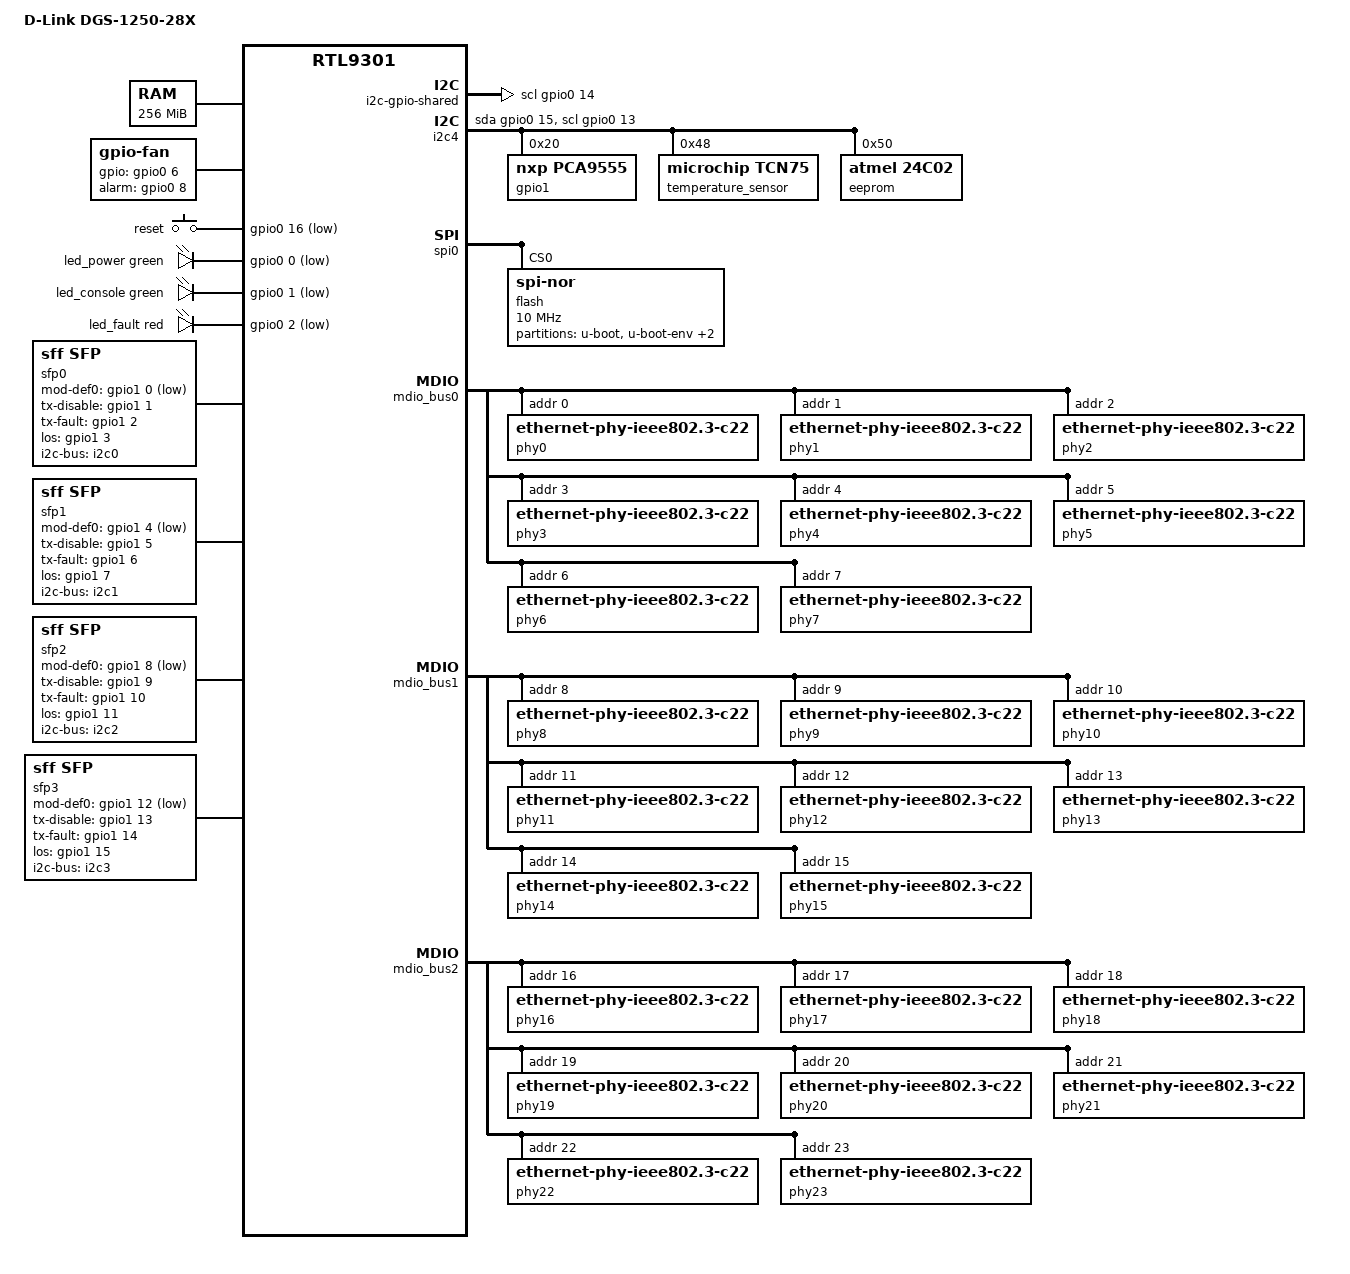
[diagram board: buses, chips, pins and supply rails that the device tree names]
// SPDX-License-Identifier: (GPL-2.0-or-later or MIT)
/dts-v1/;

#include <dt-bindings/gpio/gpio.h>
#include <dt-bindings/input/input.h>
#include <dt-bindings/leds/common.h>

#include "rtl930x.dtsi"

/ {
	compatible = "d-link,dgs-1250-28x", "realtek,rtl9301-soc";
	model = "D-Link DGS-1250-28X";

	aliases {
		label-mac-device = &ethernet0;
		led-boot = &led_power;
		led-failsafe = &led_console;
		led-running = &led_power;
		led-upgrade = &led_console;
	};

	memory@0 {
		device_type = "memory";
		reg = <0x00000000 0x10000000>;
	};

	fan: gpio-fan {
		compatible = "gpio-fan";
		gpios = <&gpio0 6 GPIO_ACTIVE_HIGH>;
		alarm-gpios = <&gpio0 8 GPIO_ACTIVE_HIGH>;
		/* simple on/off values as LM75 alert pin steers fan high/low speed */
		gpio-fan,speed-map = <0 0>, <1 1>;
		#cooling-cells = <2>;
	};

	i2c-gpio-shared {
		compatible = "i2c-gpio-shared";
		scl-gpios = <&gpio0 14 (GPIO_ACTIVE_HIGH | GPIO_OPEN_DRAIN)>;
		#address-cells = <1>;
		#size-cells = <0>;

		i2c0: i2c@0 {
			sda-gpios = <&gpio0 17 (GPIO_ACTIVE_HIGH | GPIO_OPEN_DRAIN)>;
			i2c-gpio,delay-us = <5>;
		};

		i2c1: i2c@1 {
			sda-gpios = <&gpio0 18 (GPIO_ACTIVE_HIGH | GPIO_OPEN_DRAIN)>;
			i2c-gpio,delay-us = <5>;
		};

		i2c2: i2c@2 {
			sda-gpios = <&gpio0 19 (GPIO_ACTIVE_HIGH | GPIO_OPEN_DRAIN)>;
			i2c-gpio,delay-us = <5>;
		};

		i2c3: i2c@3 {
			sda-gpios = <&gpio0 20 (GPIO_ACTIVE_HIGH | GPIO_OPEN_DRAIN)>;
			i2c-gpio,delay-us = <5>;
		};
	};

	i2c4: i2c-gpio-4 {
		compatible = "i2c-gpio";
		sda-gpios = <&gpio0 15 (GPIO_ACTIVE_HIGH | GPIO_OPEN_DRAIN)>;
		scl-gpios = <&gpio0 13 (GPIO_ACTIVE_HIGH | GPIO_OPEN_DRAIN)>;
		i2c-gpio,delay-us = <5>;
		#address-cells = <1>;
		#size-cells = <0>;

		gpio1: gpio-expander@20 {
			compatible = "nxp,pca9555";
			reg = <0x20>;
			gpio-controller;
			#gpio-cells = <2>;
		};

		temperature_sensor: temperature-sensor@48 {
			compatible = "microchip,tcn75";
			reg = <0x48>;
			#thermal-sensor-cells = <0>;
			alert-polarity-active-high;
		};

		eeprom@50 {
			compatible = "atmel,24c02";
			reg = <0x50>;
			read-only;

			nvmem-layout {
				compatible = "fixed-layout";
				#address-cells = <1>;
				#size-cells = <1>;

				mac_address: mac-address@10 {
					reg = <0x10 0x6>;
				};
			};
		};
	};

	keys {
		compatible = "gpio-keys";

		reset {
			label = "reset";
			gpios = <&gpio0 16 GPIO_ACTIVE_LOW>;
			linux,code = <KEY_RESTART>;
		};
	};

	led_set {
		compatible = "realtek,rtl9300-leds";
		active-low;

		/*
		 * 1G Ports LED0 (green): 1G/LINK/ACT
		 * 1G Ports LED1 (orange): 10M/100M/LINK/ACT
		 */
		led_set0 = <(RTL93XX_LED_SET_1G | RTL93XX_LED_SET_LINK | RTL93XX_LED_SET_ACT)
			    (RTL93XX_LED_SET_10M | RTL93XX_LED_SET_100M |
			     RTL93XX_LED_SET_LINK | RTL93XX_LED_SET_ACT)>;

		/*
		 * 10G Ports LED0 (green): 10G/LINK/ACT
		 * 10G Ports LED1 (orange): 10M/100M/1G/2.5G/5G/LINK/ACT
		 */
		led_set1 = <(RTL93XX_LED_SET_10G | RTL93XX_LED_SET_LINK | RTL93XX_LED_SET_ACT)
			    (RTL93XX_LED_SET_10M | RTL93XX_LED_SET_100M | RTL93XX_LED_SET_1G |
			     RTL93XX_LED_SET_2P5G | RTL93XX_LED_SET_5G |
			     RTL93XX_LED_SET_LINK | RTL93XX_LED_SET_ACT)>;
	};

	leds: leds {
		pinctrl-names = "default";
		pinctrl-0 = <&pinmux_disable_sys_led>;
		compatible = "gpio-leds";

		led_power: led-0 {
			function = LED_FUNCTION_POWER;
			color = <LED_COLOR_ID_GREEN>;
			gpios = <&gpio0 0 GPIO_ACTIVE_LOW>;
		};

		led_console: led-1 {
			function = LED_FUNCTION_STATUS;
			color = <LED_COLOR_ID_GREEN>;
			gpios = <&gpio0 1 GPIO_ACTIVE_LOW>;
		};

		led_fault: led-2 {
			function = LED_FUNCTION_FAULT;
			color = <LED_COLOR_ID_RED>;
			gpios = <&gpio0 2 GPIO_ACTIVE_LOW>;
		};
	};

	sfp0: sfp-p24 {
		compatible = "sff,sfp";
		i2c-bus = <&i2c0>;
		mod-def0-gpio = <&gpio1 0 GPIO_ACTIVE_LOW>;
		tx-disable-gpio = <&gpio1 1 GPIO_ACTIVE_HIGH>;
		tx-fault-gpio = <&gpio1 2 GPIO_ACTIVE_HIGH>;
		los-gpio = <&gpio1 3 GPIO_ACTIVE_HIGH>;
	};
	sfp1: sfp-p25 {
		compatible = "sff,sfp";
		i2c-bus = <&i2c1>;
		mod-def0-gpio = <&gpio1 4 GPIO_ACTIVE_LOW>;
		tx-disable-gpio = <&gpio1 5 GPIO_ACTIVE_HIGH>;
		tx-fault-gpio = <&gpio1 6 GPIO_ACTIVE_HIGH>;
		los-gpio = <&gpio1 7 GPIO_ACTIVE_HIGH>;
	};
	sfp2: sfp-p26 {
		compatible = "sff,sfp";
		i2c-bus = <&i2c2>;
		mod-def0-gpio = <&gpio1 8 GPIO_ACTIVE_LOW>;
		tx-disable-gpio = <&gpio1 9 GPIO_ACTIVE_HIGH>;
		tx-fault-gpio = <&gpio1 10 GPIO_ACTIVE_HIGH>;
		los-gpio = <&gpio1 11 GPIO_ACTIVE_HIGH>;
	};
	sfp3: sfp-p27 {
		compatible = "sff,sfp";
		i2c-bus = <&i2c3>;
		mod-def0-gpio = <&gpio1 12 GPIO_ACTIVE_LOW>;
		tx-disable-gpio = <&gpio1 13 GPIO_ACTIVE_HIGH>;
		tx-fault-gpio = <&gpio1 14 GPIO_ACTIVE_HIGH>;
		los-gpio = <&gpio1 15 GPIO_ACTIVE_HIGH>;
	};
};

&spi0 {
	status = "okay";
	flash@0 {
		compatible = "jedec,spi-nor";
		reg = <0>;
		spi-max-frequency = <10000000>;

		partitions {
			compatible = "fixed-partitions";
			#address-cells = <1>;
			#size-cells = <1>;

			partition@0 {
				label = "u-boot";
				reg = <0x0 0x100000>;
				read-only;
			};
			partition@100000 {
				label = "u-boot-env";
				reg = <0x100000 0x80000>;
			};
			partition@180000 {
				label = "u-boot-env2";
				reg = <0x180000 0x80000>;
			};
			partition@200000 {
				label = "firmware";
				compatible = "openwrt,uimage";
				reg = <0x200000 0x3e00000>;
			};
		};
	};
};

&mdio_bus0 {
	phy0: ethernet-phy@0 {
		reg = <0>;
		compatible = "ethernet-phy-ieee802.3-c22";
	};
	phy1: ethernet-phy@1 {
		reg = <1>;
		compatible = "ethernet-phy-ieee802.3-c22";
	};
	phy2: ethernet-phy@2 {
		reg = <2>;
		compatible = "ethernet-phy-ieee802.3-c22";
	};
	phy3: ethernet-phy@3 {
		reg = <3>;
		compatible = "ethernet-phy-ieee802.3-c22";
	};
	phy4: ethernet-phy@4 {
		reg = <4>;
		compatible = "ethernet-phy-ieee802.3-c22";
	};
	phy5: ethernet-phy@5 {
		reg = <5>;
		compatible = "ethernet-phy-ieee802.3-c22";
	};
	phy6: ethernet-phy@6 {
		reg = <6>;
		compatible = "ethernet-phy-ieee802.3-c22";
	};
	phy7: ethernet-phy@7 {
		reg = <7>;
		compatible = "ethernet-phy-ieee802.3-c22";
	};
};

&mdio_bus1 {
	phy8: ethernet-phy@8 {
		reg = <8>;
		compatible = "ethernet-phy-ieee802.3-c22";
	};
	phy9: ethernet-phy@9 {
		reg = <9>;
		compatible = "ethernet-phy-ieee802.3-c22";
	};
	phy10: ethernet-phy@10 {
		reg = <10>;
		compatible = "ethernet-phy-ieee802.3-c22";
	};
	phy11: ethernet-phy@11 {
		reg = <11>;
		compatible = "ethernet-phy-ieee802.3-c22";
	};
	phy12: ethernet-phy@12 {
		reg = <12>;
		compatible = "ethernet-phy-ieee802.3-c22";
	};
	phy13: ethernet-phy@13 {
		reg = <13>;
		compatible = "ethernet-phy-ieee802.3-c22";
	};
	phy14: ethernet-phy@14 {
		reg = <14>;
		compatible = "ethernet-phy-ieee802.3-c22";
	};
	phy15: ethernet-phy@15 {
		reg = <15>;
		compatible = "ethernet-phy-ieee802.3-c22";
	};
};

&mdio_bus2 {
	phy16: ethernet-phy@16 {
		reg = <16>;
		compatible = "ethernet-phy-ieee802.3-c22";
	};
	phy17: ethernet-phy@17 {
		reg = <17>;
		compatible = "ethernet-phy-ieee802.3-c22";
	};
	phy18: ethernet-phy@18 {
		reg = <18>;
		compatible = "ethernet-phy-ieee802.3-c22";
	};
	phy19: ethernet-phy@19 {
		reg = <19>;
		compatible = "ethernet-phy-ieee802.3-c22";
	};
	phy20: ethernet-phy@20 {
		reg = <20>;
		compatible = "ethernet-phy-ieee802.3-c22";
	};
	phy21: ethernet-phy@21 {
		reg = <21>;
		compatible = "ethernet-phy-ieee802.3-c22";
	};
	phy22: ethernet-phy@22 {
		reg = <22>;
		compatible = "ethernet-phy-ieee802.3-c22";
	};
	phy23: ethernet-phy@23 {
		reg = <23>;
		compatible = "ethernet-phy-ieee802.3-c22";
	};
};

&switch0 {
	ethernet-ports {
		#address-cells = <1>;
		#size-cells = <0>;

		SWITCH_PORT_LED(0, 1, 0, 0, qsgmii)
		SWITCH_PORT_LED(1, 2, 0, 0, qsgmii)
		SWITCH_PORT_LED(2, 3, 0, 0, qsgmii)
		SWITCH_PORT_LED(3, 4, 0, 0, qsgmii)
		SWITCH_PORT_LED(4, 5, 1, 0, qsgmii)
		SWITCH_PORT_LED(5, 6, 1, 0, qsgmii)
		SWITCH_PORT_LED(6, 7, 1, 0, qsgmii)
		SWITCH_PORT_LED(7, 8, 1, 0, qsgmii)

		SWITCH_PORT_LED(8, 9, 2, 0, usxgmii)
		SWITCH_PORT_LED(9, 10, 2, 0, usxgmii)
		SWITCH_PORT_LED(10, 11, 2, 0, usxgmii)
		SWITCH_PORT_LED(11, 12, 2, 0, usxgmii)
		SWITCH_PORT_LED(12, 13, 2, 0, usxgmii)
		SWITCH_PORT_LED(13, 14, 2, 0, usxgmii)
		SWITCH_PORT_LED(14, 15, 2, 0, usxgmii)
		SWITCH_PORT_LED(15, 16, 2, 0, usxgmii)

		SWITCH_PORT_LED(16, 17, 3, 0, usxgmii)
		SWITCH_PORT_LED(17, 18, 3, 0, usxgmii)
		SWITCH_PORT_LED(18, 19, 3, 0, usxgmii)
		SWITCH_PORT_LED(19, 20, 3, 0, usxgmii)
		SWITCH_PORT_LED(20, 21, 3, 0, usxgmii)
		SWITCH_PORT_LED(21, 22, 3, 0, usxgmii)
		SWITCH_PORT_LED(22, 23, 3, 0, usxgmii)
		SWITCH_PORT_LED(23, 24, 3, 0, usxgmii)

		port@24 {
			reg = <24>;
			label = "lan25";
			led-set = <1>;
			pcs-handle = <&serdes4>;
			phy-mode = "1000base-x";
			managed = "in-band-status";
			sfp = <&sfp0>;
		};
		port@25 {
			reg = <25>;
			label = "lan26";
			led-set = <1>;
			pcs-handle = <&serdes6>;
			phy-mode = "1000base-x";
			managed = "in-band-status";
			sfp = <&sfp1>;
		};
		port@26 {
			reg = <26>;
			label = "lan27";
			led-set = <1>;
			pcs-handle = <&serdes8>;
			phy-mode = "1000base-x";
			managed = "in-band-status";
			sfp = <&sfp2>;
		};
		port@27 {
			reg = <27>;
			label = "lan28";
			led-set = <1>;
			pcs-handle = <&serdes9>;
			phy-mode = "1000base-x";
			managed = "in-band-status";
			sfp = <&sfp3>;
		};

		port@28 {
			reg = <28>;
			ethernet = <&ethernet0>;
			phy-mode = "internal";
			fixed-link {
				speed = <1000>;
				full-duplex;
			};
		};
	};
};

&ethernet0 {
	nvmem-cells = <&mac_address>;
	nvmem-cell-names = "mac-address";
};
